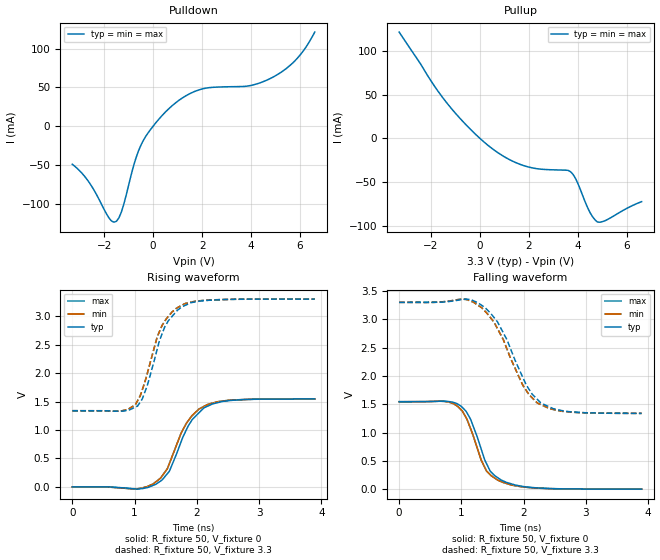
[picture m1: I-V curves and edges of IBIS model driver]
| IBIS file ex2_slowpre_tr100ps.ibs created by PYS2IBIS3
| Missouri S&T EMC Lab
[IBIS Ver] 7.1
[File Name] ex2_slowpre_tr100ps.ibs
[File Rev] 1.0
[Date] July 28, 2026
[Source] ex2 variant 'slowpre' -- predriver at half width
[Notes] Parameter selection; sim_time=3.894e-09, tr=tf=1.000e-10.
[Disclaimer] Experimental characterization for pybis observability study.
[Component] MCM Driver 1
[Manufacturer] MegaFLOPS Inc.
[Package]
| variable   typ   min   max
R_pkg 0 NA NA
L_pkg 0H NA NA
C_pkg 0F NA NA
[Pin]  signal_name   model_name   R_pin   L_pin   C_pin
vdd   vdd   POWER
gnd   gnd   GND
| in in dummy
out   out   driver
| End of Component
| Models and submodels in the file (1): driver (Output)
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[Model] driver
Model_type Output
Polarity Non-Inverting
Enable Active-Low
Vinl  = 0.8V
Vinh  = 2V
C_comp 5.0000pF 5.0000pF 5.0000pF
[Temperature Range] 27.0000 27.0000 27.0000
[Voltage Range] 3.3000V 3.3000V 3.3000V
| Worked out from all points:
|   slope of the pulldown table from 0 to 0.495 V, typ, clamps not added: 27.4 ohm
|   slope of the pullup table from 0 to 0.495 V, typ, clamps not added: 42.7 ohm
|   rising waveform, R_fixture 50, V_fixture 0: 20-80 % time 401ps typ, 389ps min, 389ps max; typ from 0 V to 1.54 V
|   rising waveform, R_fixture 50, V_fixture 3.3: 20-80 % time 349ps typ, 351ps min, 351ps max; typ from 1.34 V to 3.3 V
|   falling waveform, R_fixture 50, V_fixture 0: 20-80 % time 325ps typ, 325ps min, 325ps max; typ from 1.54 V to 0 V
|   falling waveform, R_fixture 50, V_fixture 3.3: 20-80 % time 503ps typ, 503ps min, 503ps max; typ from 3.3 V to 1.34 V
[Pulldown]
| Voltage   I(typ)   I(min)   I(max)
-3.3V     -48.93mA   -48.93mA   -48.93mA
-2.6V     -72.86mA   -72.86mA   -72.86mA
-1.8V     -118.2mA   -118.2mA   -118.2mA
-1.5V     -122.5mA   -122.5mA   -122.5mA
-1.3V     -110.9mA   -110.9mA   -110.9mA
-500mV    -24.59mA   -24.59mA   -24.59mA
600mV     21.34mA    21.34mA    21.34mA
1.9V      47.12mA    47.12mA    47.12mA
3.9V      51.99mA    51.99mA    51.99mA
4.9V      63.38mA    63.38mA    63.38mA
5.9V      87.99mA    87.99mA    87.99mA
6.6V      121.3mA    121.3mA    121.3mA
[Pullup]
| Voltage   I(typ)   I(min)   I(max)
-3.3V     122mA      122mA      122mA
-1.9V     61.75mA    61.75mA    61.75mA
-1.3V     38.86mA    38.86mA    38.86mA
-200mV    5.278mA    5.278mA    5.278mA
700mV     -15.75mA   -15.75mA   -15.75mA
2V        -32.92mA   -32.92mA   -32.92mA
3.7V      -38.24mA   -38.24mA   -38.24mA
3.9V      -45.89mA   -45.89mA   -45.89mA
4.5V      -85.43mA   -85.43mA   -85.43mA
4.8V      -95.97mA   -95.97mA   -95.97mA
5.1V      -94.48mA   -94.48mA   -94.48mA
6.6V      -72.53mA   -72.53mA   -72.53mA
[Ramp]
| variable   typ   min   max
dV/dt_r 0.9270/0.4015n 0.9270/0.3886n 0.9270/0.3886n
dV/dt_f 1.1766/0.5027n 1.1766/0.5027n 1.1766/0.5027n
R_load = 50
[Rising Waveform]
R_fixture = 50
V_fixture = 0
|time   V(typ)   V(min)   V(max)
0s        7.302nV    7.302nV    7.302nV
1.017ns   -36.29mV   -38.99mV   -38.99mV
1.341ns   44.54mV    87.49mV    87.49mV
1.419ns   103.2mV    155.2mV    155.2mV
1.559ns   275.2mV    410.2mV    410.2mV
1.828ns   996.6mV    1.11V      1.11V
1.929ns   1.188V     1.258V     1.258V
2.175ns   1.42V      1.45V      1.45V
2.584ns   1.523V     1.527V     1.527V
3.894ns   1.545V     1.545V     1.545V
[Rising Waveform]
R_fixture = 50
V_fixture = 3.3
|time   V(typ)   V(min)   V(max)
0s        1.338V     1.338V     1.338V
799ps     1.331V     1.337V     1.337V
1.049ns   1.42V      1.514V     1.514V
1.204ns   1.78V      1.993V     1.993V
1.36ns    2.406V     2.624V     2.624V
1.442ns   2.693V     2.837V     2.837V
1.544ns   2.92V      2.998V     2.998V
1.813ns   3.189V     3.222V     3.222V
2.261ns   3.284V     3.286V     3.286V
3.894ns   3.3V       3.3V       3.3V
[Falling Waveform]
R_fixture = 50
V_fixture = 0
|time   V(typ)   V(min)   V(max)
0s        1.545V     1.545V     1.545V
728.9ps   1.553V     1.55V      1.55V
993.9ps   1.467V     1.403V     1.403V
1.146ns   1.238V     1.073V     1.073V
1.314ns   718.8mV    523.3mV    523.3mV
1.403ns   450.9mV    320.6mV    320.6mV
1.462ns   319.7mV    255.2mV    255.2mV
1.653ns   154mV      124.8mV    124.8mV
2.21ns    21.36mV    18.37mV    18.37mV
3.894ns   147.3uV    103.9uV    103.9uV
[Falling Waveform]
R_fixture = 50
V_fixture = 3.3
|time   V(typ)   V(min)   V(max)
0s        3.3V       3.3V       3.3V
1.021ns   3.351V     3.358V     3.358V
1.376ns   3.212V     3.147V     3.147V
1.52ns    3.037V     2.957V     2.957V
1.719ns   2.672V     2.511V     2.511V
2.078ns   1.778V     1.68V      1.68V
2.272ns   1.526V     1.495V     1.495V
2.405ns   1.457V     1.427V     1.427V
2.806ns   1.361V     1.358V     1.358V
3.894ns   1.339V     1.339V     1.339V
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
